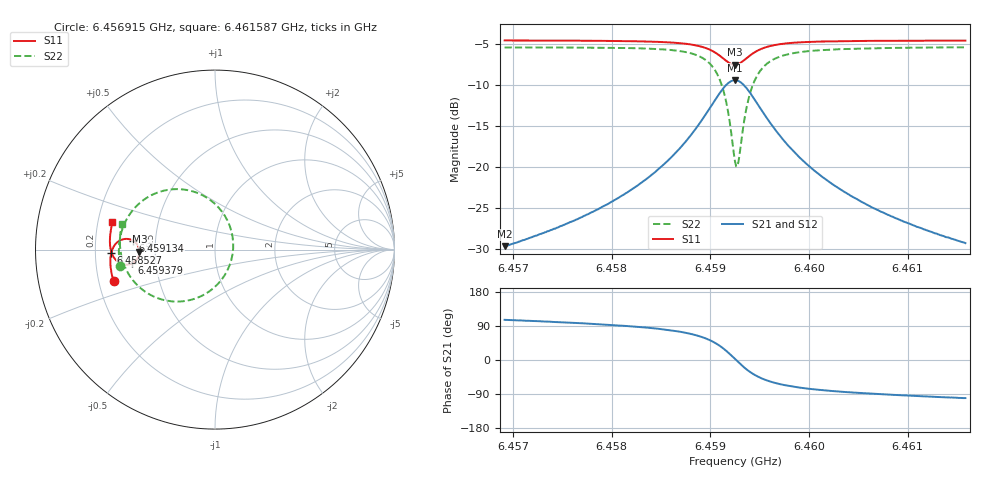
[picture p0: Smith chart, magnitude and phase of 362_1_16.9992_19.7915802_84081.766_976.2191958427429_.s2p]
#  HZ  S  RI  R  50.00
! Rohde & Schwarz Vector Network Analyzer
! Rohde-Schwarz,ZNB20-2Port,1311601062101988,3.16
! Created: UTC 3/20/2024, 11:08:16 PM
! freq[Hz]  re:S11  im:S11  re:S21  im:S21  re:S12  im:S12  re:S22  im:S22
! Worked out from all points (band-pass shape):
!   401 points, 6.456915 GHz to 6.461587 GHz, reference 50 ohm
!   highest |S21| = -9.39 dB at 6.459251 GHz (marker M1); lowest = -29.6 dB at 6.456915 GHz (marker M2)
!   |S21| within 3 dB of the highest: 6.459017 GHz to 6.459484 GHz (466.9 kHz wide, 0.00723 % of centre)
!   lowest |S11| = -7.5 dB at 6.459251 GHz (marker M3), VSWR 2.45, Z = 20.4 - j0.586 ohm
!   |S11| at or under -10 dB: nowhere
!   |S22| runs from -19.9 to -5.4 dB; largest |S21 - S12| = 0.013
!   S11 on the Smith chart (normalised r, x): 6.456915 GHz: 0.26, -0.14; 6.458527 GHz: 0.27, -0.01; 6.459134 GHz: 0.37, +0.05; 6.459379 GHz: 0.36, -0.07; 6.461587 GHz: 0.26, +0.12
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6.4569151e9  -0.565 -0.177  -0.00911 0.0318  -0.00734 0.0317  -0.5292 -0.0897
6.4576976e9  -0.5799 -0.109  -0.00593 0.0493  -0.00352 0.0489  -0.5357 0.000332
6.4581531e9  -0.5833 -0.0635  0.000378 0.0699  0.00353 0.0686  -0.5276 0.0718
6.4584801e9  -0.5797 -0.0246  0.0133 0.0971  0.0172 0.0943  -0.5042 0.1448
6.4585268e9  -0.5783 -0.0182  0.0166 0.1024  0.0206 0.0995  -0.4978 0.1578
6.458737e9  -0.5665 0.0135  0.0422 0.1336  0.0462 0.1291  -0.4503 0.229
6.4588889e9  -0.5456 0.0398  0.0839 0.1637  0.0872 0.1573  -0.3733 0.2928
6.4590407e9  -0.5002 0.0596  0.1743 0.1829  0.1753 0.1755  -0.2085 0.3369
6.4591341e9  -0.4564 0.0498  0.2627 0.1524  0.263 0.1466  -0.045 0.2887
6.4591808e9  -0.4355 0.0313  0.3057 0.1107  0.3069 0.1053  0.0366 0.2145
6.4592509e9  -0.4209 -0.0118  0.3388 0.0156  0.3423 0.00894  0.1013 0.0387
6.4592743e9  -0.4226 -0.0274  0.3369 -0.0191  0.3406 -0.0272  0.0975 -0.0269
6.459286e9  -0.4247 -0.035  0.3334 -0.0359  0.337 -0.0448  0.0906 -0.0586
6.4593327e9  -0.44 -0.0605  0.3058 -0.0949  0.3078 -0.1064  0.0351 -0.1697
6.4593794e9  -0.4616 -0.0765  0.2647 -0.1354  0.2638 -0.1482  -0.0479 -0.2433
6.4594728e9  -0.5042 -0.0831  0.1816 -0.1664  0.1756 -0.1775  -0.2129 -0.2895
6.4596246e9  -0.5473 -0.0627  0.0952 -0.1533  0.0869 -0.1593  -0.3773 -0.242
6.4597882e9  -0.5686 -0.0352  0.051 -0.126  0.0437 -0.1289  -0.4566 -0.1717
6.4600334e9  -0.5811 0.000341  0.0223 -0.0954  0.0165 -0.096  -0.5041 -0.0909
6.4603721e9  -0.5855 0.0402  0.00664 -0.0698  0.00273 -0.0693  -0.5253 -0.0147
6.4608159e9  -0.5835 0.0846  -0.00133 -0.051  -0.00408 -0.0501  -0.5299 0.0553
6.4615868e9  -0.5711 0.1525  -0.00625 -0.0339  -0.00804 -0.033  -0.5184 0.145
